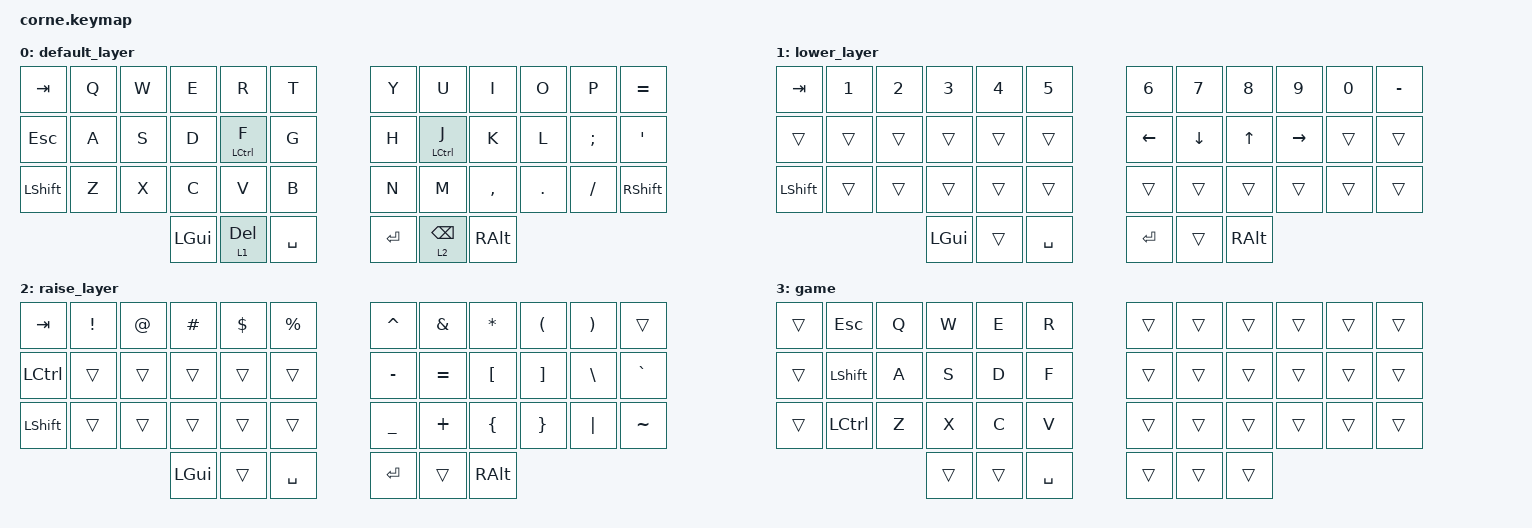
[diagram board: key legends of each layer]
/*
 * Copyright (c) 2020 The ZMK Contributors
 *
 * SPDX-License-Identifier: MIT
 */

#include <behaviors.dtsi>
#include <dt-bindings/zmk/keys.h>

/ {
    behaviors {
        spc_lwr: space_lower {
            compatible = "zmk,behavior-hold-tap";
            #binding-cells = <2>;
            tapping-term-ms = <200>;
            quick-tap-ms = <150>;
            flavor = "tap-preferred";
            bindings = <&mo>, <&kp>;
        };

        hr: hr {
            compatible = "zmk,behavior-hold-tap";
            label = "HR";
            bindings = <&kp>, <&kp>;

            #binding-cells = <2>;
            tapping-term-ms = <280>;
            quick-tap-ms = <175>;
            require-prior-idle-ms = <150>;
            flavor = "balanced";
        };
    };

    combos {
        compatible = "zmk,combos";

        gaming {
            bindings = <&to 3>;
            key-positions = <1 10>;
        };
    };

    keymap {
        compatible = "zmk,keymap";

        default_layer {
            bindings = <
&kp TAB     &kp Q  &kp W  &kp E     &kp R              &kp T        &kp Y      &kp U                 &kp I      &kp O    &kp P     &kp EQUAL
&kp ESCAPE  &kp A  &kp S  &kp D     &hr LCTRL F        &kp G        &kp H      &hr LCTRL J           &kp K      &kp L    &kp SEMI  &kp SQT
&kp LSHFT   &kp Z  &kp X  &kp C     &kp V              &kp B        &kp N      &kp M                 &kp COMMA  &kp DOT  &kp FSLH  &kp RIGHT_SHIFT
                          &kp LGUI  &spc_lwr 1 DELETE  &kp SPACE    &kp ENTER  &spc_lwr 2 BACKSPACE  &kp RALT
            >;
        };

        lower_layer {
            bindings = <
&kp TAB    &kp N1  &kp N2  &kp N3    &kp N4  &kp N5       &kp N6    &kp N7    &kp N8    &kp N9     &kp N0  &kp MINUS
&trans     &trans  &trans  &trans    &trans  &trans       &kp LEFT  &kp DOWN  &kp UP    &kp RIGHT  &trans  &trans
&kp LSHFT  &trans  &trans  &trans    &trans  &trans       &trans    &trans    &trans    &trans     &trans  &trans
                           &kp LGUI  &trans  &kp SPACE    &kp RET   &trans    &kp RALT
            >;
        };

        raise_layer {
            bindings = <
&kp TAB    &kp EXCL  &kp AT  &kp HASH  &kp DLLR  &kp PRCNT    &kp CARET  &kp AMPS   &kp ASTRK  &kp LPAR  &kp RPAR  &trans
&kp LCTRL  &trans    &trans  &trans    &trans    &trans       &kp MINUS  &kp EQUAL  &kp LBKT   &kp RBKT  &kp BSLH  &kp GRAVE
&kp LSHFT  &trans    &trans  &trans    &trans    &trans       &kp UNDER  &kp PLUS   &kp LBRC   &kp RBRC  &kp PIPE  &kp TILDE
                             &kp LGUI  &trans    &kp SPACE    &kp RET    &trans     &kp RALT
            >;
        };

        game {
            bindings = <
&trans  &kp ESCAPE      &kp Q  &kp W   &kp E   &kp R        &trans  &trans  &trans  &trans  &trans  &trans
&trans  &kp LEFT_SHIFT  &kp A  &kp S   &kp D   &kp F        &trans  &trans  &trans  &trans  &trans  &trans
&trans  &kp LCTRL       &kp Z  &kp X   &kp C   &kp V        &trans  &trans  &trans  &trans  &trans  &trans
                               &trans  &trans  &kp SPACE    &trans  &trans  &trans
            >;
        };
    };
};
